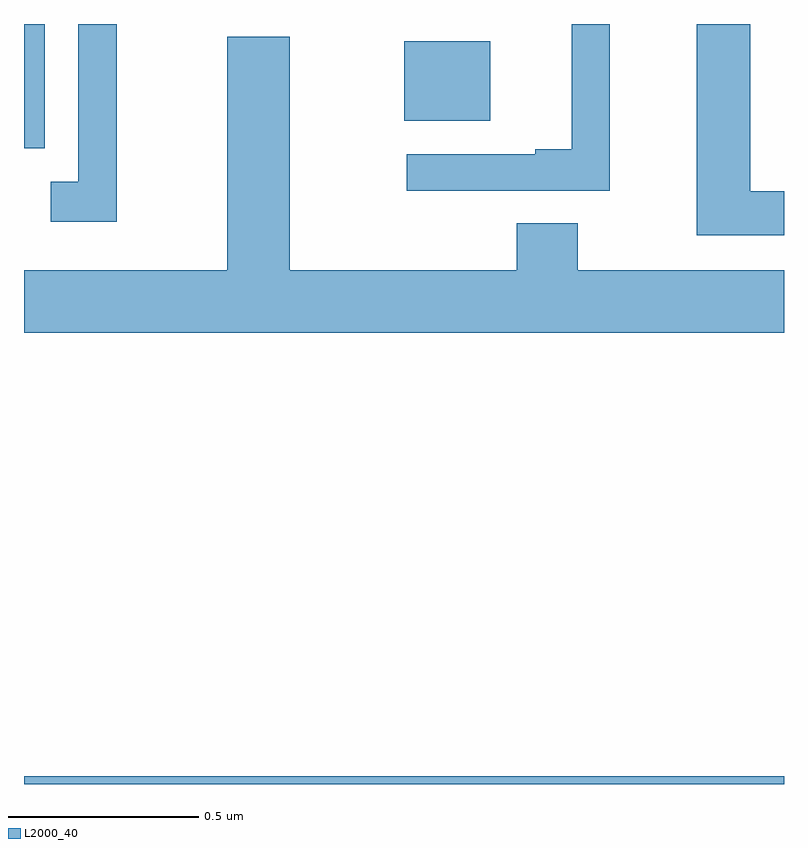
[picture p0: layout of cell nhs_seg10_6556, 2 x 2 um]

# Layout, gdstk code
import gdstk
lib = gdstk.Library(unit=1e-6, precision=1e-09)
def R(c, l, rs):  # rectangles x0, y0, x1, y1
    for r in rs: c.add(gdstk.rectangle(r[:2], r[2:], *l))
def P(c, l, *ps):  # polygons
    for p in ps: c.add(gdstk.Polygon(p, *l))
L2000_40 = (2000, 40)

nhs_seg10_6556 = lib.new_cell('nhs_seg10_6556')
R(nhs_seg10_6556, L2000_40, [(193,1260.5,195,1260.52), (193,1262.173,193.054,1262.5), (194,1262.246,194.227,1262.455)])
P(nhs_seg10_6556, L2000_40, [(195,1262.06),(194.911,1262.06),(194.911,1262.5),(194.771,1262.5),(194.771,1261.944),(195,1261.944)],
  [(194.541,1262.5),(194.441,1262.5),(194.441,1262.17),(194.345,1262.17),(194.345,1262.157),(194.007,1262.157),(194.007,1262.061),(194.541,1262.061)],
  [(193.244,1262.5),(193.143,1262.5),(193.143,1262.085),(193.071,1262.085),(193.071,1261.98),(193.244,1261.98)],
  [(195,1261.852),(194.457,1261.852),(194.457,1261.976),(194.297,1261.976),(194.297,1261.852),(193.699,1261.852),(193.699,1262.467),(193.535,1262.467),(193.535,1261.852),(193,1261.852),(193,1261.688),(195,1261.688)])

lib.write_gds('nhs_seg10_6556.gds')
